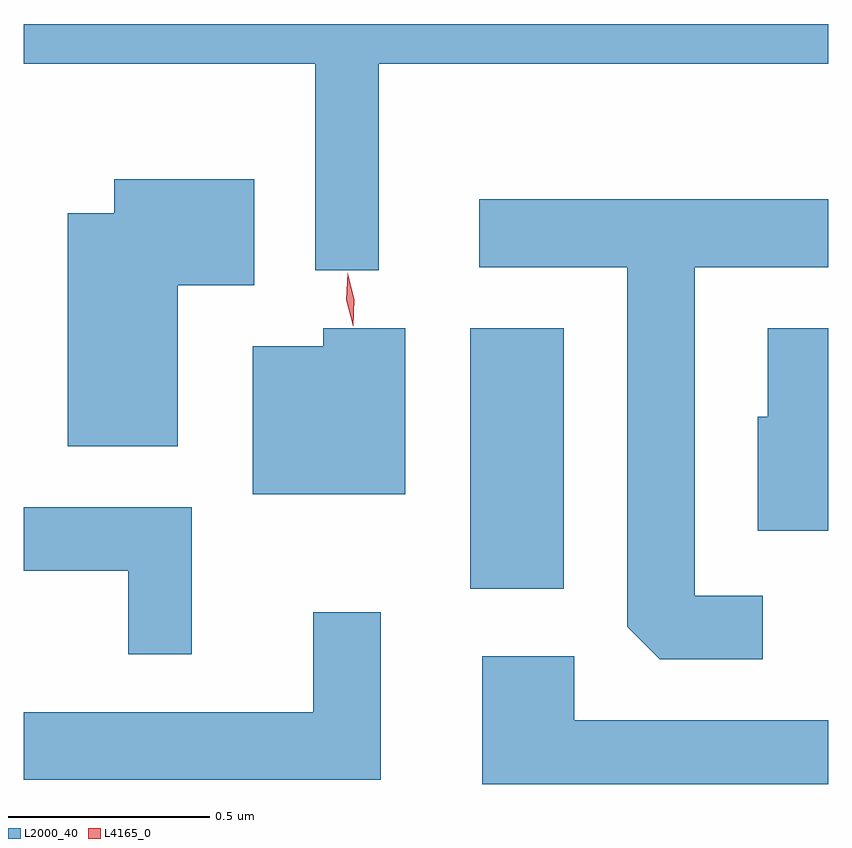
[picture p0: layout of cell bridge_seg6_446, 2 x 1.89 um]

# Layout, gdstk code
import gdstk
lib = gdstk.Library(unit=1e-6, precision=1e-09)
def R(c, l, rs):  # rectangles x0, y0, x1, y1
    for r in rs: c.add(gdstk.rectangle(r[:2], r[2:], *l))
def P(c, l, *ps):  # polygons
    for p in ps: c.add(gdstk.Polygon(p, *l))
L2000_40 = (2000, 40)
L4165_0 = (4165, 0)

bridge_seg6_446 = lib.new_cell('bridge_seg6_446')
R(bridge_seg6_446, L2000_40, [(894.611,1608.671,894.844,1609.319)])
P(bridge_seg6_446, L2000_40, [(894.384,1609.976),(895.501,1609.976),(895.501,1610.075),(893.501,1610.075),(893.501,1609.976),(894.226,1609.976),(894.226,1609.463),(894.384,1609.463)],
  [(893.884,1609.426),(894.074,1609.426),(894.074,1609.689),(893.726,1609.689),(893.726,1609.604),(893.611,1609.604),(893.611,1609.026),(893.884,1609.026)],
  [(895.338,1608.654),(895.169,1608.654),(895.169,1609.471),(895.501,1609.471),(895.501,1609.639),(894.633,1609.639),(894.633,1609.471),(895.001,1609.471),(895.001,1608.577),(895.082,1608.496),(895.338,1608.496)],
  [(894.449,1609.319),(894.246,1609.319),(894.246,1609.274),(894.071,1609.274),(894.071,1608.906),(894.449,1608.906)],
  [(895.501,1609.319),(895.351,1609.319),(895.351,1609.099),(895.326,1609.099),(895.326,1608.816),(895.501,1608.816)],
  [(893.919,1608.874),(893.501,1608.874),(893.501,1608.716),(893.761,1608.716),(893.761,1608.508),(893.919,1608.508)],
  [(894.389,1608.613),(894.221,1608.613),(894.221,1608.364),(893.501,1608.364),(893.501,1608.196),(894.389,1608.196)],
  [(895.501,1608.344),(894.869,1608.344),(894.869,1608.504),(894.641,1608.504),(894.641,1608.186),(895.501,1608.186)])
P(bridge_seg6_446, L4165_0, [(894.32,1609.324),(894.32,1609.324),(894.303,1609.389),(894.306,1609.456),(894.307,1609.457),(894.307,1609.456),(894.323,1609.391),(894.32,1609.324)])

lib.write_gds('bridge_seg6_446.gds')
